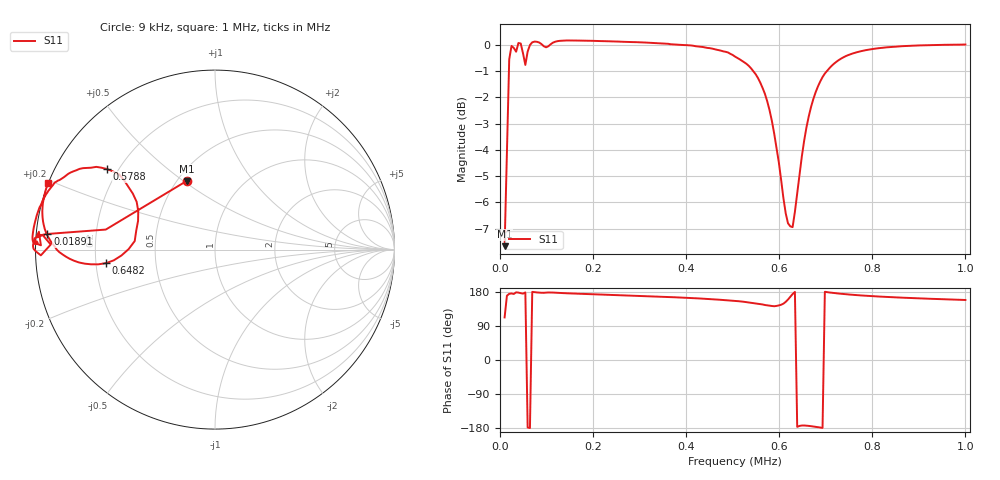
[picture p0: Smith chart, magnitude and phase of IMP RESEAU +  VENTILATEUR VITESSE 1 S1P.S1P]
!Agilent Technologies,E5071C,MY46109397,A.09.54
!Date: Mon Jan 01 01:30:04 2001
!Data & Calibration Information:
!Freq	S11:SOLT1(ON)
# Hz S RI R 50
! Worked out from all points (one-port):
!   201 points, 9 kHz to 1 MHz, reference 50 ohm
!   lowest |S11| = -7.7 dB at 9 kHz (marker M1), VSWR 2.41, Z = 27.9 + j25.8 ohm
!   |S11| at or under -10 dB: nowhere
!   S11 on the Smith chart (normalised r, x): 9 kHz: 0.56, +0.52; 18.91 kHz: 0.03, +0.05; 578.8 kHz: 0.16, +0.32; 648.2 kHz: 0.24, -0.06; 1 MHz: -0.00, +0.19
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9000  -0.1572 0.3828
13955  -0.6085 0.1116
18910  -0.9342 0.0871
23865  -0.9923 0.0766
28820  -0.9812 0.0993
33775  -0.97 0.024
38730  -1.007 0.0375
48640  -0.9594 0.0805
53595  -0.9152 0.028
58550  -0.9702 -0.032
68460  -1.011 0.00457
88280  -1.002 0.0453
132875  -1.016 0.06
256750  -1.001 0.1586
380625  -0.9674 0.2553
504500  -0.8674 0.387
544140  -0.7729 0.4419
578825  -0.6017 0.4489
588735  -0.5337 0.4186
608555  -0.4365 0.2662
618465  -0.4286 0.1598
628375  -0.4473 0.0476
648195  -0.6081 -0.0759
668015  -0.7581 -0.0717
692790  -0.8681 -0.0135
752250  -0.9511 0.1243
876125  -0.9561 0.2766
1000000  -0.9309 0.369
